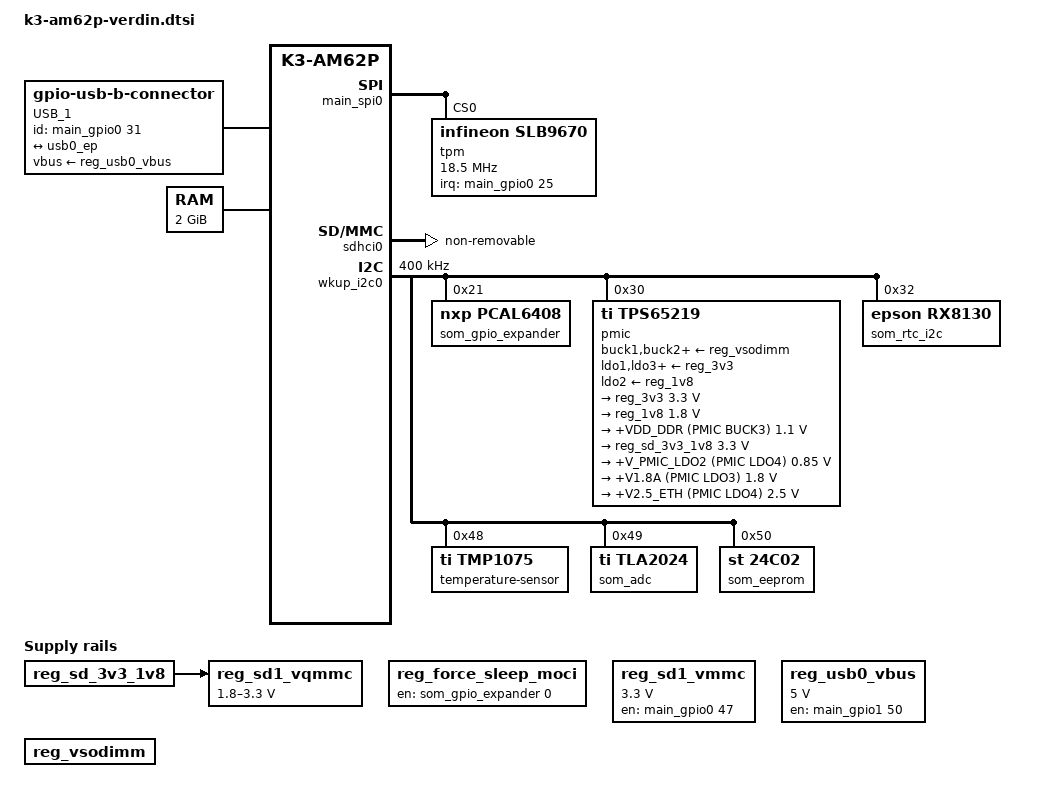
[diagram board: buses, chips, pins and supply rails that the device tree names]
// SPDX-License-Identifier: GPL-2.0-or-later OR MIT
/*
 * Copyright 2025 Toradex
 *
 * Common dtsi for Verdin AM62P SoM
 *
 * https://www.toradex.com/computer-on-modules/verdin-arm-family/ti-am62p
 */

#include <dt-bindings/gpio/gpio.h>
#include <dt-bindings/input/input.h>
#include <dt-bindings/interrupt-controller/arm-gic.h>
#include <dt-bindings/interrupt-controller/irq.h>
#include <dt-bindings/net/ti-dp83867.h>

/ {
	aliases {
		can0 = &main_mcan0;
		can1 = &mcu_mcan0;
		eeprom0 = &som_eeprom;
		ethernet0 = &cpsw_port1;
		ethernet1 = &cpsw_port2;
		i2c0 = &wkup_i2c0;
		i2c1 = &main_i2c0;
		i2c2 = &main_i2c1;
		i2c3 = &mcu_i2c0;
		i2c4 = &main_i2c3;
		mmc0 = &sdhci0;
		mmc1 = &sdhci1;
		mmc2 = &sdhci2;
		rtc0 = &som_rtc_i2c;
		rtc1 = &wkup_rtc0;
		serial0 = &main_uart1;
		serial1 = &wkup_uart0;
		serial2 = &main_uart0;
		serial3 = &mcu_uart0;
		serial4 = &main_uart6;
		usb0 = &usb0;
		usb1 = &usb1;
	};

	chosen {
		stdout-path = "serial2:115200n8";
	};

	connector {
		compatible = "gpio-usb-b-connector", "usb-b-connector";
		pinctrl-names = "default";
		pinctrl-0 = <&pinctrl_usb0_id>;
		id-gpios = <&main_gpio0 31 GPIO_ACTIVE_HIGH>;
		label = "USB_1";
		self-powered;
		vbus-supply = <&reg_usb0_vbus>;

		port {
			usb_dr_connector: endpoint {
				remote-endpoint = <&usb0_ep>;
			};
		};
	};

	verdin_gpio_keys: gpio-keys {
		compatible = "gpio-keys";
		pinctrl-names = "default";
		pinctrl-0 = <&pinctrl_ctrl_wake1_mico>;
		status = "disabled";

		key-wakeup {
			debounce-interval = <10>;
			/* Verdin CTRL_WAKE1_MICO# (SODIMM 252) */
			gpios = <&main_gpio0 1 GPIO_ACTIVE_LOW>;
			label = "Wake-Up";
			linux,code = <KEY_WAKEUP>;
			wakeup-source;
		};
	};

	memory@80000000 {
		/* 2G RAM */
		reg = <0x00000000 0x80000000 0x00000000 0x80000000>;
		device_type = "memory";
	};

	opp-table {
		/* Add 1.4GHz OPP. Requires VDD_CORE to be at 0.85V */
		opp-1400000000 {
			opp-hz = /bits/ 64 <1400000000>;
			opp-supported-hw = <0x01 0x0004>;
			clock-latency-ns = <6000000>;
		};
	};

	reg_force_sleep_moci: regulator-force-sleep-moci {
		compatible = "regulator-fixed";
		/* Verdin CTRL_SLEEP_MOCI# (SODIMM 256) */
		gpios = <&som_gpio_expander 0 GPIO_ACTIVE_HIGH>;
		enable-active-high;
		regulator-always-on;
		regulator-boot-on;
		regulator-name = "CTRL_SLEEP_MOCI#";
	};

	/* Verdin SD_1 Power Supply */
	reg_sd1_vmmc: regulator-sdhci1-vmmc {
		compatible = "regulator-fixed";
		pinctrl-names = "default";
		pinctrl-0 = <&pinctrl_sd1_pwr_en>;
		/* Verdin SD_1_PWR_EN (SODIMM 76) */
		gpios = <&main_gpio0 47 GPIO_ACTIVE_HIGH>;
		enable-active-high;
		off-on-delay-us = <100000>;
		regulator-max-microvolt = <3300000>;
		regulator-min-microvolt = <3300000>;
		regulator-name = "+V3.3_SD";
		startup-delay-us = <2000>;
	};

	reg_sd1_vqmmc: regulator-sdhci1-vqmmc {
		compatible = "regulator-gpio";
		pinctrl-names = "default";
		pinctrl-0 = <&pinctrl_sd_vsel>;
		/* PMIC_VSEL_SD */
		gpios = <&main_gpio0 21 GPIO_ACTIVE_HIGH>;
		regulator-name = "LDO1-VSEL-SD (PMIC)";
		regulator-min-microvolt = <1800000>;
		regulator-max-microvolt = <3300000>;
		states = <1800000 0x0>,
			 <3300000 0x1>;
		vin-supply = <&reg_sd_3v3_1v8>;
	};

	reg_usb0_vbus: regulator-usb0-vbus {
		compatible = "regulator-fixed";
		pinctrl-names = "default";
		pinctrl-0 = <&pinctrl_usb0_en>;
		/* Verdin USB_1_EN (SODIMM 155) */
		gpios = <&main_gpio1 50 GPIO_ACTIVE_HIGH>;
		enable-active-high;
		regulator-max-microvolt = <5000000>;
		regulator-min-microvolt = <5000000>;
		regulator-name = "USB_1_EN";
	};

	/* Module Power Supply */
	reg_vsodimm: regulator-vsodimm {
		compatible = "regulator-fixed";
		regulator-name = "+V_SODIMM";
	};

	reserved_memory: reserved-memory {
		#address-cells = <2>;
		#size-cells = <2>;
		ranges;

		secure_tfa_ddr: tfa@9e780000 {
			reg = <0x00 0x9e780000 0x00 0x80000>;
			no-map;
		};

		secure_ddr: optee@9e800000 {
			reg = <0x00 0x9e800000 0x00 0x01800000>; /* for OP-TEE */
			no-map;
		};

		wkup_r5fss0_core0_dma_memory_region: memory@9c800000 {
			compatible = "shared-dma-pool";
			reg = <0x00 0x9c800000 0x00 0x100000>;
			no-map;
		};

		wkup_r5fss0_core0_memory_region: memory@9c900000 {
			compatible = "shared-dma-pool";
			reg = <0x00 0x9c900000 0x00 0x01e00000>;
			no-map;
		};
	};
};

&main_pmx0 {
	/* Verdin PWM_3_DSI */
	pinctrl_epwm0_b: main-epwm0b-default-pins {
		pinctrl-single,pins = <
			AM62PX_IOPAD(0x01b8, PIN_OUTPUT, 2) /* (E20) SPI0_CS1.EHRPWM0_B */ /* SODIMM 19 */
		>;
	};

	/* Verdin PWM_2 */
	pinctrl_epwm2_a: main-epwm2a-default-pins {
		pinctrl-single,pins = <
			AM62PX_IOPAD(0x0124, PIN_OUTPUT, 4) /* (J25) MMC2_SDCD.EHRPWM2_A */ /* SODIMM 16 */
		>;
	};

	/* Verdin PWM_1 */
	pinctrl_epwm2_b: main-epwm2b-default-pins {
		pinctrl-single,pins = <
			AM62PX_IOPAD(0x0128, PIN_OUTPUT, 4) /* (K25) MMC2_SDWP.EHRPWM2_B */ /* SODIMM 15 */
		>;
	};

	/* Verdin QSPI_1_CLK as GPIO (conflict with Verdin QSPI_1 interface) */
	pinctrl_qspi1_clk_gpio: main-gpio0-0-default-pins {
		pinctrl-single,pins = <
			AM62PX_IOPAD(0x0000, PIN_INPUT, 7) /* (P23) OSPI0_CLK.GPIO0_0 */ /* SODIMM 52 */
		>;
	};

	/* Verdin CTRL_WAKE1_MICO# */
	pinctrl_ctrl_wake1_mico: main-gpio0-1-default-pins {
		pinctrl-single,pins = <
			AM62PX_IOPAD(0x0004, PIN_INPUT, 7) /* (N23) OSPI0_LBCLKO.GPIO0_1 */ /* SODIMM 252 */
		>;
	};

	/* Verdin QSPI_1_DQS as GPIO (conflict with Verdin QSPI_1 interface) */
	pinctrl_qspi1_dqs_gpio: main-gpio0-2-default-pins {
		pinctrl-single,pins = <
			AM62PX_IOPAD(0x0008, PIN_INPUT, 7) /* (P22) OSPI0_DQS.GPIO0_2 */ /* SODIMM 66 */
		>;
	};

	/* Verdin QSPI_1_IO0 as GPIO (conflict with Verdin QSPI_1 interface) */
	pinctrl_qspi1_io0_gpio: main-gpio0-3-default-pins {
		pinctrl-single,pins = <
			AM62PX_IOPAD(0x000c, PIN_INPUT, 7) /* (L25) OSPI0_D0.GPIO0_3 */ /* SODIMM 56 */
		>;
	};

	/* Verdin QSPI_1_IO1 as GPIO (conflict with Verdin QSPI_1 interface) */
	pinctrl_qspi1_io1_gpio: main-gpio0-4-default-pins {
		pinctrl-single,pins = <
			AM62PX_IOPAD(0x0010, PIN_INPUT, 7) /* (N24) OSPI0_D1.GPIO0_4 */ /* SODIMM 58 */
		>;
	};

	/* Verdin QSPI_1_IO2 as GPIO (conflict with Verdin QSPI_1 interface) */
	pinctrl_qspi1_io2_gpio: main-gpio0-5-default-pins {
		pinctrl-single,pins = <
			AM62PX_IOPAD(0x0014, PIN_INPUT, 7) /* (N25) OSPI0_D2.GPIO0_5 */ /* SODIMM 60 */
		>;
	};

	/* Verdin QSPI_1_IO3 as GPIO (conflict with Verdin QSPI_1 interface) */
	pinctrl_qspi1_io3_gpio: main-gpio0-6-default-pins {
		pinctrl-single,pins = <
			AM62PX_IOPAD(0x0018, PIN_INPUT, 7) /* (M24) OSPI0_D3.GPIO0_6 */ /* SODIMM 62 */
		>;
	};

	/* Verdin QSPI_1_CS# as GPIO (conflict with Verdin QSPI_1 interface) */
	pinctrl_qspi1_cs_gpio: main-gpio0-11-default-pins {
		pinctrl-single,pins = <
			AM62PX_IOPAD(0x002c, PIN_INPUT, 7) /* (M25) OSPI0_CSn0.GPIO0_11 */ /* SODIMM 54 */
		>;
	};

	/* Verdin QSPI_1_CS2# as GPIO (conflict with Verdin QSPI_1 interface) */
	pinctrl_qspi1_cs2_gpio: main-gpio0-12-default-pins {
		pinctrl-single,pins = <
			AM62PX_IOPAD(0x0030, PIN_INPUT, 7) /* (L24) OSPI0_CSn1.GPIO0_12 */ /* SODIMM 64 */
		>;
	};

	/* Verdin MSP_37 as GPIO */
	pinctrl_msp37_gpio: main-gpio0-13-default-pins {
		pinctrl-single,pins = <
			AM62PX_IOPAD(0x0034, PIN_INPUT, 7) /* (L22) OSPI0_CSn2.GPIO0_13 */ /* SODIMM 174 - WiFi_W_WKUP_HOST# */
		>;
	};

	/* Verdin PCIE_1_RESET# */
	pinctrl_pcie_1_reset: main-gpio0-14-default-pins {
		pinctrl-single,pins = <
			AM62PX_IOPAD(0x0038, PIN_INPUT, 7) /* (L23) OSPI0_CSn3.GPIO0_14 */ /* SODIMM 244 */
		>;
	};

	pinctrl_sd_vsel: main-gpio0-21-default-pins {
		pinctrl-single,pins = <
			AM62PX_IOPAD(0x0054, PIN_INPUT, 7) /* (V24) GPMC0_AD6.GPIO0_21 */ /* PMIC_SD_VSEL */
		>;
	};

	pinctrl_tpm_extint: main-gpio0-25-default-pins {
		pinctrl-single,pins = <
			AM62PX_IOPAD(0x0064, PIN_INPUT, 7) /* (AA25) GPMC0_AD10.GPIO0_25 */ /* TPM_EXTINT# */
		>;
	};

	pinctrl_wifi_wkup_bt: main-gpio0-29-default-pins {
		pinctrl-single,pins = <
			AM62PX_IOPAD(0x0074, PIN_INPUT, 7) /* (AB24) GPMC0_AD14.GPIO0_29 */ /* WiFi_WKUP_BT# */
		>;
	};

	pinctrl_wifi_wkup_wlan: main-gpio0-30-default-pins {
		pinctrl-single,pins = <
			AM62PX_IOPAD(0x0078, PIN_INPUT, 7) /* (AC24) GPMC0_AD15.GPIO0_30 */ /* WiFi_WKUP_WLAN# */
		>;
	};

	/* Verdin USB_1_ID */
	pinctrl_usb0_id: main-gpio0-31-default-pins {
		pinctrl-single,pins = <
			AM62PX_IOPAD(0x007c, PIN_INPUT, 7) /* (Y25) GPMC0_CLK.GPIO0_31 */ /* SODIMM 161 */
		>;
	};

	/* Verdin USB_1_OC# */
	pinctrl_usb1_oc: main-gpio0-32-default-pins {
		pinctrl-single,pins = <
			AM62PX_IOPAD(0x0084, PIN_INPUT, 7) /* (R25) GPMC0_ADVn_ALE.GPIO0_32 */ /* SODIMM 157 */
		>;
	};

	/* Verdin I2S_2_D_IN as GPIO (conflict with Verdin I2S_2 interface) */
	pinctrl_i2s_2_d_in_gpio: main-gpio0-33-default-pins {
		pinctrl-single,pins = <
			AM62PX_IOPAD(0x0088, PIN_INPUT, 7) /* (R24) GPMC0_OEn_REn.GPIO0_33 */ /* SODIMM 48 */
		>;
	};

	/* Verdin I2S_2_D_OUT as GPIO (conflict with Verdin I2S_2 interface) */
	pinctrl_i2s_2_d_out_gpio: main-gpio0-34-default-pins {
		pinctrl-single,pins = <
			AM62PX_IOPAD(0x008c, PIN_INPUT, 7) /* (T25) GPMC0_WEn.GPIO0_34 */ /* SODIMM 46 */
		>;
	};

	/* Verdin I2S_2_BCLK as GPIO (conflict with Verdin I2S_2 interface) */
	pinctrl_i2s_2_bclk_gpio: main-gpio0-35-default-pins {
		pinctrl-single,pins = <
			AM62PX_IOPAD(0x0090, PIN_INPUT, 7) /* (U24) GPMC0_BE0n_CLE.GPIO0_35 */ /* SODIMM 42 */
		>;
	};

	pinctrl_eth_int: main-gpio0-36-default-pins {
		pinctrl-single,pins = <
			AM62PX_IOPAD(0x0094, PIN_INPUT, 7) /* (T24) GPMC0_BE1n.GPIO0_36 */ /* ETH_INT# */
		>;
	};

	/* Verdin I2S_2_SYNC as GPIO (conflict with Verdin I2S_2 interface) */
	pinctrl_i2s_2_sync_gpio: main-gpio0-37-default-pins {
		pinctrl-single,pins = <
			AM62PX_IOPAD(0x0098, PIN_INPUT, 7) /* (AA24) GPMC0_WAIT0.GPIO0_37 */ /* SODIMM 44 */
		>;
	};

	/* Verdin DSI_1_INT# */
	pinctrl_dsi1_int: main-gpio0-38-default-pins {
		pinctrl-single,pins = <
			AM62PX_IOPAD(0x009c, PIN_INPUT, 7) /* (AD24) GPMC0_WAIT1.GPIO0_38 */ /* SODIMM 17 */
		>;
	};

	/* Verdin DSI_1_BLK_EN# */
	pinctrl_dsi1_bkl_en: main-gpio0-39-default-pins {
		pinctrl-single,pins = <
			AM62PX_IOPAD(0x00a0, PIN_INPUT, 7) /* (P24) GPMC0_WPn.GPIO0_39 */ /* SODIMM 21 */
		>;
	};

	/* Verdin USB_2_OC# */
	pinctrl_usb2_oc: main-gpio0-41-default-pins {
		pinctrl-single,pins = <
			AM62PX_IOPAD(0x00a8, PIN_INPUT, 7) /* (T23) GPMC0_CSn0.GPIO0_41 */ /* SODIMM 187 */
		>;
	};

	/* Verdin ETH_2_RGMII_INT# */
	pinctrl_eth2_rgmii_int: main-gpio0-42-default-pins {
		pinctrl-single,pins = <
			AM62PX_IOPAD(0x00ac, PIN_INPUT, 7) /* (U23) GPMC0_CSn1.GPIO0_42 */ /* SODIMM 189 */
		>;
	};

	/* Verdin SD_1_PWR_EN */
	pinctrl_sd1_pwr_en: main-gpio0-47-default-pins {
		pinctrl-single,pins = <
			AM62PX_IOPAD(0x00c0, PIN_INPUT, 7) /* (AA23) VOUT0_DATA2.GPIO0_47 */ /* SODIMM 76 */
		>;
	};

	/* Verdin GPIO_5 */
	pinctrl_gpio_5: main-gpio0-49-default-pins {
		pinctrl-single,pins = <
			AM62PX_IOPAD(0x00c8, PIN_INPUT, 7) /* (AB23) VOUT0_DATA4.GPIO0_49 */ /* SODIMM 216 */
		>;
	};

	/* Verdin GPIO_6 */
	pinctrl_gpio_6: main-gpio0-50-default-pins {
		pinctrl-single,pins = <
			AM62PX_IOPAD(0x00cc, PIN_INPUT, 7) /* (AD23) VOUT0_DATA5.GPIO0_50 */ /* SODIMM 218 */
		>;
	};

	/* Verdin GPIO_7 */
	pinctrl_gpio_7: main-gpio0-51-default-pins {
		pinctrl-single,pins = <
			AM62PX_IOPAD(0x00d0, PIN_INPUT, 7) /* (AC23) VOUT0_DATA6.GPIO0_51 */ /* SODIMM 220 */
		>;
	};

	/* Verdin GPIO_8 */
	pinctrl_gpio_8: main-gpio0-52-default-pins {
		pinctrl-single,pins = <
			AM62PX_IOPAD(0x00d4, PIN_INPUT, 7) /* (AE23) VOUT0_DATA7.GPIO0_52 */ /* SODIMM 222 */
		>;
	};

	/* Verdin MSP_36 as GPIO */
	pinctrl_msp36_gpio: main-gpio0-57-default-pins {
		pinctrl-single,pins = <
			AM62PX_IOPAD(0x00e8, PIN_INPUT, 7) /* (AD21) VOUT0_DATA12.GPIO0_57 */ /* SODIMM 172 - WiFi_BT_WKUP_HOST#  */
		>;
	};

	pinctrl_wifi_sd_int: main-gpio0-59-default-pins {
		pinctrl-single,pins = <
			AM62PX_IOPAD(0x00f0, PIN_INPUT, 7) /* (AA20) VOUT0_DATA14.GPIO0_59 */ /* WIFI_SD_INT */
		>;
	};

	pinctrl_wifi_spi_cs: main-gpio0-60-default-pins {
		pinctrl-single,pins = <
			AM62PX_IOPAD(0x00f4, PIN_INPUT, 7) /* (Y20) VOUT0_DATA15.GPIO0_60 */ /* WIFI_SPI_CS# */
		>;
	};

	/* Verdin PWM_3_DSI as GPIO */
	pinctrl_pwm3_dsi_gpio: main-gpio1-16-default-pins {
		pinctrl-single,pins = <
			AM62PX_IOPAD(0x01b8, PIN_INPUT, 7) /* (E20) SPI0_CS1.GPIO1_16 */ /* SODIMM 19 */
		>;
	};

	/* Verdin SD_1_CD# */
	pinctrl_sd1_cd: main-gpio1-48-default-pins {
		pinctrl-single,pins = <
			AM62PX_IOPAD(0x0240, PIN_INPUT_PULLUP, 7) /* (D23) MMC1_SDCD.GPIO1_48 */ /* SODIMM 84 */
		>;
	};

	/* Verdin MSP_29 as GPIO */
	pinctl_msp29_gpio: main-gpio1-49-default-pins {
		pinctrl-single,pins = <
			AM62PX_IOPAD(0x0244, PIN_INPUT, 7) /* (D24) MMC1_SDWP.GPIO1_49 */ /* SODIMM 154 */
		>;
	};

	/* Verdin USB_1_EN */
	pinctrl_usb0_en: main-gpio1-50-default-pins {
		pinctrl-single,pins = <
			AM62PX_IOPAD(0x0254, PIN_INPUT, 7) /* (G22) USB0_DRVVBUS.GPIO1_50 */ /* SODIMM 155 */
		>;
	};

	/* Verdin I2C_1 */
	pinctrl_main_i2c0: main-i2c0-default-pins {
		pinctrl-single,pins = <
			AM62PX_IOPAD(0x01e0, PIN_INPUT_PULLUP, 0) /* (B25) I2C0_SCL */ /* SODIMM 14 */
			AM62PX_IOPAD(0x01e4, PIN_INPUT_PULLUP, 0) /* (A24) I2C0_SDA */ /* SODIMM 12 */
		>;
	};

	/* Verdin I2C_2_DSI */
	pinctrl_main_i2c1: main-i2c1-default-pins {
		pinctrl-single,pins = <
			AM62PX_IOPAD(0x01e8, PIN_INPUT_PULLUP, 0) /* (C24) I2C1_SCL */ /* SODIMM 55 */
			AM62PX_IOPAD(0x01ec, PIN_INPUT_PULLUP, 0) /* (B24) I2C1_SDA */ /* SODIMM 53 */
		>;
	};

	/* Verdin I2C_4_CSI */
	pinctrl_main_i2c3: main-i2c3-default-pins {
		pinctrl-single,pins = <
			AM62PX_IOPAD(0x01d0, PIN_INPUT_PULLUP, 2) /* (A23) UART0_CTSn.I2C3_SCL */ /* SODIMM 95 */
			AM62PX_IOPAD(0x01d4, PIN_INPUT_PULLUP, 2) /* (C22) UART0_RTSn.I2C3_SDA */ /* SODIMM 93 */
		>;
	};

	/* Verdin CAN_1 */
	pinctrl_main_mcan0: main-mcan0-default-pins {
		pinctrl-single,pins = <
			AM62PX_IOPAD(0x01dc, PIN_INPUT, 0)  /* (F20) MCAN0_RX */ /* SODIMM 22 */
			AM62PX_IOPAD(0x01d8, PIN_OUTPUT, 0) /* (B23) MCAN0_TX */ /* SODIMM 20 */
		>;
	};

	/* Verdin MSP_3/MSP_8 as CAN */
	pinctrl_main_mcan1: main-mcan1-default-pins {
		pinctrl-single,pins = <
			AM62PX_IOPAD(0x00b4, PIN_INPUT, 5)  /* (U25) GPMC0_CSn3.MCAN1_RX */ /* SODIMM 92  */
			AM62PX_IOPAD(0x00b0, PIN_OUTPUT, 5) /* (T22) GPMC0_CSn2.MCAN1_TX */ /* SODIMM 104 */
		>;
	};

	/* Verdin SD_1 */
	pinctrl_sdhci1: main-mmc1-default-pins {
		pinctrl-single,pins = <
			AM62PX_IOPAD(0x023c, PIN_INPUT,  0) /* (H20) MMC1_CMD  */ /* SODIMM 74 */
			AM62PX_IOPAD(0x0234, PIN_OUTPUT, 0) /* (J24) MMC1_CLK  */ /* SODIMM 78 */
			AM62PX_IOPAD(0x0230, PIN_INPUT,  0) /* (H21) MMC1_DAT0 */ /* SODIMM 80 */
			AM62PX_IOPAD(0x022c, PIN_INPUT,  0) /* (H23) MMC1_DAT1 */ /* SODIMM 82 */
			AM62PX_IOPAD(0x0228, PIN_INPUT,  0) /* (H22) MMC1_DAT2 */ /* SODIMM 70 */
			AM62PX_IOPAD(0x0224, PIN_INPUT,  0) /* (H25) MMC1_DAT3 */ /* SODIMM 72 */
		>;
	};

	/* On-module Wi-Fi on WB SKUs, module-specific SDIO otherwise */
	pinctrl_sdhci2: main-mmc2-default-pins {
		pinctrl-single,pins = <
			AM62PX_IOPAD(0x0120, PIN_INPUT,  0) /* (K24) MMC2_CMD  */ /* SODIMM 160, WiFi_SDIO_CMD   */
			AM62PX_IOPAD(0x0118, PIN_OUTPUT, 0) /* (K21) MMC2_CLK  */ /* SODIMM 156, WiFi_SDIO_CLK   */
			AM62PX_IOPAD(0x011C, PIN_INPUT,  0) /* () MMC2_CLKLB   */
			AM62PX_IOPAD(0x0114, PIN_INPUT,  0) /* (K23) MMC2_DAT0 */ /* SODIMM 162, WiFi_SDIO_DATA0 */
			AM62PX_IOPAD(0x0110, PIN_INPUT,  0) /* (K22) MMC2_DAT1 */ /* SODIMM 164, WiFi_SDIO_DATA1 */
			AM62PX_IOPAD(0x010c, PIN_INPUT,  0) /* (L20) MMC2_DAT2 */ /* SODIMM 166, WiFi_SDIO_DATA2 */
			AM62PX_IOPAD(0x0108, PIN_INPUT,  0) /* (L21) MMC2_DAT3 */ /* SODIMM 168, WiFi_SDIO_DATA3 */
		>;
	};

	/* Verdin QSPI_1 */
	pinctrl_ospi0: main-ospi0-default-pins {
		pinctrl-single,pins = <
			AM62PX_IOPAD(0x0000, PIN_OUTPUT, 0) /* (P23) OSPI0_CLK  */ /* SODIMM 52 */
			AM62PX_IOPAD(0x002c, PIN_OUTPUT, 0) /* (M25) OSPI0_CSn0 */ /* SODIMM 54 */
			AM62PX_IOPAD(0x0030, PIN_OUTPUT, 0) /* (L24) OSPI0_CSn1 */ /* SODIMM 64 */
			AM62PX_IOPAD(0x000c, PIN_INPUT,  0) /* (L25) OSPI0_D0   */ /* SODIMM 56 */
			AM62PX_IOPAD(0x0010, PIN_INPUT,  0) /* (N24) OSPI0_D1   */ /* SODIMM 58 */
			AM62PX_IOPAD(0x0014, PIN_INPUT,  0) /* (N25) OSPI0_D2   */ /* SODIMM 60 */
			AM62PX_IOPAD(0x0018, PIN_INPUT,  0) /* (M24) OSPI0_D3   */ /* SODIMM 62 */
			AM62PX_IOPAD(0x0008, PIN_INPUT,  0) /* (P22) OSPI0_DQS  */ /* SODIMM 66 */
		>;
	};

	/* Verdin ETH_1 RGMII (On-module PHY) */
	pinctrl_rgmii1: main-rgmii1-default-pins {
		pinctrl-single,pins = <
			AM62PX_IOPAD(0x014c, PIN_INPUT, 0) /* (B15) RGMII1_RD0    */ /* RGMII_RXD0   */
			AM62PX_IOPAD(0x0150, PIN_INPUT, 0) /* (B16) RGMII1_RD1    */ /* RGMII_RXD1   */
			AM62PX_IOPAD(0x0154, PIN_INPUT, 0) /* (A14) RGMII1_RD2    */ /* RGMII_RXD2   */
			AM62PX_IOPAD(0x0158, PIN_INPUT, 0) /* (B14) RGMII1_RD3    */ /* RGMII_RXD3   */
			AM62PX_IOPAD(0x0148, PIN_INPUT, 0) /* (A16) RGMII1_RXC    */ /* RGMII_RXC    */
			AM62PX_IOPAD(0x0144, PIN_INPUT, 0) /* (A15) RGMII1_RX_CTL */ /* RGMII_RX_CTL */
			AM62PX_IOPAD(0x0134, PIN_INPUT, 0) /* (A18) RGMII1_TD0    */ /* RGMII_TXD0   */
			AM62PX_IOPAD(0x0138, PIN_INPUT, 0) /* (C17) RGMII1_TD1    */ /* RGMII_TXD1   */
			AM62PX_IOPAD(0x013c, PIN_INPUT, 0) /* (A17) RGMII1_TD2    */ /* RGMII_TXD2   */
			AM62PX_IOPAD(0x0140, PIN_INPUT, 0) /* (C16) RGMII1_TD3    */ /* RGMII_TXD3   */
			AM62PX_IOPAD(0x0130, PIN_INPUT, 0) /* (B17) RGMII1_TXC    */ /* RGMII_TXC    */
			AM62PX_IOPAD(0x012c, PIN_INPUT, 0) /* (B18) RGMII1_TX_CTL */ /* RGMII_TX_CTL */
		>;
	};

	/* Verdin ETH_2 RGMII */
	pinctrl_rgmii2: main-rgmii2-default-pins {
		pinctrl-single,pins = <
			AM62PX_IOPAD(0x0184, PIN_INPUT, 0) /* (E19) RGMII2_RD0    */ /* SODIMM 201 */
			AM62PX_IOPAD(0x0188, PIN_INPUT, 0) /* (E16) RGMII2_RD1    */ /* SODIMM 203 */
			AM62PX_IOPAD(0x018c, PIN_INPUT, 0) /* (E17) RGMII2_RD2    */ /* SODIMM 205 */
			AM62PX_IOPAD(0x0190, PIN_INPUT, 0) /* (C19) RGMII2_RD3    */ /* SODIMM 207 */
			AM62PX_IOPAD(0x0180, PIN_INPUT, 0) /* (D19) RGMII2_RXC    */ /* SODIMM 197 */
			AM62PX_IOPAD(0x017c, PIN_INPUT, 0) /* (F19) RGMII2_RX_CTL */ /* SODIMM 199 */
			AM62PX_IOPAD(0x016c, PIN_INPUT, 0) /* (B19) RGMII2_TD0    */ /* SODIMM 221 */
			AM62PX_IOPAD(0x0170, PIN_INPUT, 0) /* (A21) RGMII2_TD1    */ /* SODIMM 219 */
			AM62PX_IOPAD(0x0174, PIN_INPUT, 0) /* (D17) RGMII2_TD2    */ /* SODIMM 217 */
			AM62PX_IOPAD(0x0178, PIN_INPUT, 0) /* (A19) RGMII2_TD3    */ /* SODIMM 215 */
			AM62PX_IOPAD(0x0168, PIN_INPUT, 0) /* (D16) RGMII2_TXC    */ /* SODIMM 213 */
			AM62PX_IOPAD(0x0164, PIN_INPUT, 0) /* (A20) RGMII2_TX_CTL */ /* SODIMM 211 */
		>;
	};

	/* TPM SPI, Optional Module Specific SPI */
	pinctrl_main_spi0: main-spi0-default-pins {
		pinctrl-single,pins = <
			AM62PX_IOPAD(0x01bc, PIN_INPUT,  0) /* (B21) SPI0_CLK */ /* TPM_SPI_CLK  - SODIMM 148 */
			AM62PX_IOPAD(0x01c0, PIN_OUTPUT, 0) /* (B20) SPI0_D0  */ /* TPM_SPI_MOSI - SODIMM 150 */
			AM62PX_IOPAD(0x01c4, PIN_INPUT,  0) /* (C21) SPI0_D1  */ /* TPM_SPI_MISO - SODIMM 152 */
			AM62PX_IOPAD(0x01b4, PIN_INPUT,  0) /* (D20) SPI0_CS0 */ /* TPM_SPI_CS */
		>;
	};

	/* Verdin SPI_1 */
	pinctrl_main_spi1: main-spi1-default-pins {
		pinctrl-single,pins = <
			AM62PX_IOPAD(0x0020, PIN_INPUT,  1) /* (N22) OSPI0_D5.SPI1_CLK */ /* SODIMM 196 */
			AM62PX_IOPAD(0x0024, PIN_OUTPUT, 1) /* (P21) OSPI0_D6.SPI1_D0  */ /* SODIMM 200 */
			AM62PX_IOPAD(0x0028, PIN_INPUT,  1) /* (N20) OSPI0_D7.SPI1_D1  */ /* SODIMM 198 */
		>;
	};

	/* Verdin SPI_1_CS */
	pinctrl_main_spi1_cs0: main-spi1-cs0-default-pins {
		pinctrl-single,pins = <
			AM62PX_IOPAD(0x001c, PIN_OUTPUT, 1) /* (N21) OSPI0_D4.SPI1_CS0 */ /* SODIMM 202 */
		>;
	};

	/* Verdin I2S_1 MCLK */
	pinctrl_i2s1_mclk: main-system-audio-ext-reflock0-default-pins {
		pinctrl-single,pins = <
			AM62PX_IOPAD(0x00c4, PIN_OUTPUT, 5) /* (Y23) VOUT0_DATA3.AUDIO_EXT_REFCLK0 */ /* SODIMM 38 */
		>;
	};

	pinctrl_eth_clock: main-system-clkout0-default-pins {
		pinctrl-single,pins = <
			AM62PX_IOPAD(0x01f0, PIN_OUTPUT_PULLUP, 5) /* (C25) EXT_REFCLK1.CLKOUT0 */ /* ETH_25MHz_CLK */
		>;
	};

	pinctrl_pmic_extint: main-system-extint-default-pins {
		pinctrl-single,pins = <
			AM62PX_IOPAD(0x01f4, PIN_INPUT, 0) /* (C23) EXTINTn */ /* PMIC_EXTINT# */
		>;
	};

	/* Verdin UART_3, used as the Linux console */
	pinctrl_uart0: main-uart0-default-pins {
		pinctrl-single,pins = <
			AM62PX_IOPAD(0x1c8, PIN_INPUT,  0) /* (A22) UART0_RXD */ /* SODIMM 147 */
			AM62PX_IOPAD(0x1cc, PIN_OUTPUT, 0) /* (B22) UART0_TXD */ /* SODIMM 149 */
		>;
	};

	/* Verdin UART_1 */
	pinctrl_uart1: main-uart1-default-pins {
		pinctrl-single,pins = <
			AM62PX_IOPAD(0x01ac, PIN_INPUT,  2) /* (G23) MCASP0_AFSR.UART1_RXD  */ /* SODIMM 129 */
			AM62PX_IOPAD(0x01b0, PIN_OUTPUT, 2) /* (G20) MCASP0_ACLKR.UART1_TXD */ /* SODIMM 131 */
			AM62PX_IOPAD(0x0194, PIN_INPUT,  2) /* (D25) MCASP0_AXR3.UART1_CTSn */ /* SODIMM 135 */
			AM62PX_IOPAD(0x0198, PIN_OUTPUT, 2) /* (E25) MCASP0_AXR2.UART1_RTSn */ /* SODIMM 133 */
		>;
	};

	/* Verdin MSP 41, 42, 44 and 45 as UART */
	pinctrl_uart2: main-uart2-default-pins {
		pinctrl-single,pins = <
			AM62PX_IOPAD(0x00b8, PIN_INPUT,  4) /* (AE24) VOUT0_DATA0.UART2_RXD */ /* SODIMM 192 */
			AM62PX_IOPAD(0x00bc, PIN_OUTPUT, 4) /* (W23) VOUT0_DATA1.UART2_TXD  */ /* SODIMM 190 */
			AM62PX_IOPAD(0x0104, PIN_INPUT,  4) /* (Y21) VOUT0_PCLK.UART2_CTSn  */ /* SODIMM 184 */
			AM62PX_IOPAD(0x0100, PIN_OUTPUT, 4) /* (W20) VOUT0_VSYNC.UART2_RTSn */ /* SODIMM 186 */
		>;
	};

	/* Bluetooth on WB SKUs */
	pinctrl_uart6: main-uart6-default-pins {
		pinctrl-single,pins = <
			AM62PX_IOPAD(0x00d8, PIN_INPUT,  4) /* (AE22) VOUT0_DATA8.UART6_RXD   */ /* WiFi_UART_RXD */
			AM62PX_IOPAD(0x00dc, PIN_OUTPUT, 4) /* (AC22) VOUT0_DATA9.UART6_TXD   */ /* WiFi_UART_TXD */
			AM62PX_IOPAD(0x00e4, PIN_INPUT,  4) /* (AE21) VOUT0_DATA11.UART6_CTSn */ /* WiFi_UART_CTS */
			AM62PX_IOPAD(0x00e0, PIN_OUTPUT, 4) /* (W22)  VOUT0_DATA10.UART6_RTSn */ /* WiFi_UART_RTS */
		>;
	};

	/* Verdin USB_2_EN */
	pinctrl_usb1: main-usb1-default-pins {
		pinctrl-single,pins = <
			AM62PX_IOPAD(0x0258, PIN_OUTPUT, 0) /* (G21) USB1_DRVVBUS */ /* SODIMM 185 */
		>;
	};

	/* Verdin I2S_1 */
	pinctrl_mcasp0: mcasp0-default-pins {
		pinctrl-single,pins = <
			AM62PX_IOPAD(0x01a4, PIN_INPUT, 0) /* (F24) MCASP0_ACLKX */ /* SODIMM 30 */
			AM62PX_IOPAD(0x01a8, PIN_INPUT, 0) /* (F25) MCASP0_AFSX  */ /* SODIMM 32 */
			AM62PX_IOPAD(0x01a0, PIN_INPUT, 0) /* (F23) MCASP0_AXR0  */ /* SODIMM 34 */
			AM62PX_IOPAD(0x019c, PIN_INPUT, 0) /* (E24) MCASP0_AXR1  */ /* SODIMM 36 */
		>;
	};

	/* Verdin I2S_2 */
	pinctrl_mcasp1: mcasp1-default-pins {
		pinctrl-single,pins = <
			AM62PX_IOPAD(0x0090, PIN_INPUT, 2) /* (U24)  GPMC0_BE0n_CLE.MCASP1_ACLKX */ /* SODIMM 42 */
			AM62PX_IOPAD(0x0098, PIN_INPUT, 2) /* (AA24) GPMC0_WAIT0.MCASP1_AFSX     */ /* SODIMM 44 */
			AM62PX_IOPAD(0x008c, PIN_INPUT, 2) /* (T25)  GPMC0_WEn.MCASP1_AXR0       */ /* SODIMM 46 */
			AM62PX_IOPAD(0x0088, PIN_INPUT, 2) /* (R24)  GPMC0_OEn_REn.MCASP1_AXR1   */ /* SODIMM 48 */
		>;
	};

	/* MDIO, shared by Verdin ETH_1 (On-module PHY) and Verdin ETH_2_RGMII */
	pinctrl_mdio: mdio0-default-pins {
		pinctrl-single,pins = <
			AM62PX_IOPAD(0x0160, PIN_OUTPUT, 0) /* (F17) MDIO0_MDC  */ /* SODIMM 193 */
			AM62PX_IOPAD(0x015c, PIN_INPUT,  0) /* (F16) MDIO0_MDIO */ /* SODIMM 191 */
		>;
	};
};

&mcu_pmx0 {
	/* Verdin GPIO_1 */
	pinctrl_gpio_1: mcu-gpio0-1-default-pins {
		pinctrl-single,pins = <
			AM62PX_MCU_IOPAD(0x0004, PIN_INPUT, 7) /* (E10) MCU_SPI0_CS1.MCU_GPIO0_1 */ /* SODIMM 206 */
		>;
	};

	/* Verdin GPIO_2 */
	pinctrl_gpio_2: mcu-gpio0-2-default-pins {
		pinctrl-single,pins = <
			AM62PX_MCU_IOPAD(0x0008, PIN_INPUT, 7) /* (C10) MCU_SPI0_CLK.MCU_GPIO0_2 */ /* SODIMM 208 */
		>;
	};

	/* Verdin GPIO_3 */
	pinctrl_gpio_3: mcu-gpio0-3-default-pins {
		pinctrl-single,pins = <
			AM62PX_MCU_IOPAD(0x000c, PIN_INPUT, 7) /* (B11) MCU_SPI0_D0.MCU_GPIO0_3 */ /* SODIMM 210 */
		>;
	};

	/* Verdin GPIO_4 */
	pinctrl_gpio_4: mcu-gpio0-4-default-pins {
		pinctrl-single,pins = <
			AM62PX_MCU_IOPAD(0x0010, PIN_INPUT, 7) /* (D10) MCU_SPI0_D1.MCU_GPIO0_4 */ /* SODIMM 212 */
		>;
	};

	/* Verdin I2C_3_HDMI */
	pinctrl_mcu_i2c0: mcu-i2c0-default-pins {
		pinctrl-single,pins = <
			AM62PX_MCU_IOPAD(0x0044, PIN_INPUT_PULLUP, 0) /* (E11) MCU_I2C0_SCL */ /* SODIMM 59 */
			AM62PX_MCU_IOPAD(0x0048, PIN_INPUT_PULLUP, 0) /* (D11) MCU_I2C0_SDA */ /* SODIMM 57 */
		>;
	};

	/* Verdin CAN_2 */
	pinctrl_mcu_mcan0: mcu-mcan0-default-pins {
		pinctrl-single,pins = <
			AM62PX_MCU_IOPAD(0x0038, PIN_INPUT,  0) /* (D6) MCU_MCAN0_RX */ /* SODIMM 22 */
			AM62PX_MCU_IOPAD(0x0034, PIN_OUTPUT, 0) /* (E8) MCU_MCAN0_TX */ /* SODIMM 20 */
		>;
	};

	/* Verdin MSP_13/MSP_18 as CAN */
	pinctrl_mcu_mcan1: mcu-mcan1-default-pins {
		pinctrl-single,pins = <
			AM62PX_MCU_IOPAD(0x0040, PIN_INPUT,  0) /* (E7) MCU_MCAN1_RX */ /* SODIMM 116 */
			AM62PX_MCU_IOPAD(0x003c, PIN_OUTPUT, 0) /* (F8) MCU_MCAN1_TX */ /* SODIMM 128 */
		>;
	};

	/* Verdin UART_4 */
	pinctrl_mcu_uart0: mcu-uart0-default-pins {
		pinctrl-single,pins = <
			AM62PX_MCU_IOPAD(0x0014, PIN_INPUT,  0) /* (B6) MCU_UART0_RXD */ /* SODIMM 151 */
			AM62PX_MCU_IOPAD(0x0018, PIN_OUTPUT, 0) /* (C8) MCU_UART0_TXD */ /* SODIMM 153 */
		>;
	};

	/* On-module I2C - PMIC_I2C */
	pinctrl_wkup_i2c0: wkup-i2c0-default-pins {
		pinctrl-single,pins = <
			AM62PX_MCU_IOPAD(0x004c, PIN_INPUT, 0) /* (A13) WKUP_I2C0_SCL */ /* PMIC_I2C_SCL */
			AM62PX_MCU_IOPAD(0x0050, PIN_INPUT, 0) /* (C11) WKUP_I2C0_SDA */ /* PMIC_I2C_SDA */
		>;
	};

	/* Verdin CSI_1_MCLK */
	pinctrl_wkup_clkout0: wkup-system-clkout0-default-pins {
		pinctrl-single,pins = <
			AM62PX_MCU_IOPAD(0x0084, PIN_OUTPUT, 0) /* (F13) WKUP_CLKOUT0 */ /* SODIMM 91 */
		>;
	};

	/* Verdin UART_2 */
	pinctrl_wkup_uart0: wkup-uart0-default-pins {
		pinctrl-single,pins = <
			AM62PX_MCU_IOPAD(0x002c, PIN_INPUT,  0) /* (C7) WKUP_UART0_CTSn */ /* SODIMM 143 */
			AM62PX_MCU_IOPAD(0x0030, PIN_OUTPUT, 0) /* (C6) WKUP_UART0_RTSn */ /* SODIMM 141 */
			AM62PX_MCU_IOPAD(0x0024, PIN_INPUT,  0) /* (D8) WKUP_UART0_RXD  */ /* SODIMM 137 */
			AM62PX_MCU_IOPAD(0x0028, PIN_OUTPUT, 0) /* (D7) WKUP_UART0_TXD  */ /* SODIMM 139 */
		>;
	};
};

/* Verdin I2S_1_MCLK */
&audio_refclk0 {
	assigned-clock-rates = <25000000>;
};

&cpsw3g {
	pinctrl-names = "default";
	pinctrl-0 = <&pinctrl_rgmii1>;
	status = "disabled";
};

/* MDIO, shared by Verdin ETH_1 (On-module PHY) and Verdin ETH_2_RGMII */
&cpsw3g_mdio {
	pinctrl-names = "default";
	pinctrl-0 = <&pinctrl_mdio>, <&pinctrl_eth_clock>;
	assigned-clocks = <&k3_clks 157 36>;
	assigned-clock-parents = <&k3_clks 157 38>;
	assigned-clock-rates = <25000000>;
	status = "disabled";

	som_eth_phy: ethernet-phy@0 {
		reg = <0>;
		pinctrl-names = "default";
		pinctrl-0 = <&pinctrl_eth_int>;
		interrupt-parent = <&main_gpio0>;
		interrupts = <36 IRQ_TYPE_EDGE_FALLING>;
		ti,clk-output-sel = <DP83867_CLK_O_SEL_OFF>;
		ti,rx-internal-delay = <DP83867_RGMIIDCTL_2_00_NS>;
		ti,fifo-depth = <DP83867_PHYCR_FIFO_DEPTH_4_B_NIB>;
	};
};

/* Verdin ETH_1 (On-module PHY) */
&cpsw_port1 {
	phy-handle = <&som_eth_phy>;
	phy-mode = "rgmii-rxid";
	status = "disabled";
};

/* Verdin ETH_2_RGMII */
&cpsw_port2 {
	status = "disabled";
};

/* Verdin PWM_3_DSI */
&epwm0 {
	pinctrl-names = "default";
	pinctrl-0 = <&pinctrl_epwm0_b>;
	status = "disabled";
};

/* Verdin PWM_1, PWM_2 */
&epwm2 {
	pinctrl-names = "default";
	pinctrl-0 = <&pinctrl_epwm2_a>, <&pinctrl_epwm2_b>;
	status = "disabled";
};

&main0_alert {
	temperature = <95000>;
};

&main0_crit {
	temperature = <105000>;
};

&main1_alert {
	temperature = <95000>;
};

&main1_crit {
	temperature = <105000>;
};

&main2_alert {
	temperature = <95000>;
};

&main2_crit {
	temperature = <105000>;
};

&main_gpio0 {
	gpio-line-names =
		"SODIMM_52",
		"SODIMM_252",
		"SODIMM_66",
		"SODIMM_56",
		"SODIMM_58",
		"SODIMM_60",
		"SODIMM_62",
		"",
		"",
		"",
		"", /* 10 */
		"SODIMM_54",
		"SODIMM_64",
		"SODIMM_174",
		"SODIMM_244",
		"",
		"",
		"",
		"",
		"",
		"", /* 20 */
		"PMIC_SD_VSEL",
		"",
		"",
		"",
		"TPM_EXTINT#",
		"",
		"",
		"",
		"WiFi_WKUP_BT#",
		"WiFi_WKUP_WLAN#", /* 30 */
		"SODIMM_161",
		"SODIMM_157",
		"",
		"",
		"",
		"ETH_INT#",
		"",
		"SODIMM_17",
		"SODIMM_21",
		"", /* 40 */
		"SODIMM_187",
		"SODIMM_189",
		"",
		"",
		"",
		"",
		"SODIMM_76",
		"",
		"SODIMM_216",
		"SODIMM_218", /* 50 */
		"SODIMM_220",
		"SODIMM_222",
		"",
		"",
		"",
		"",
		"SODIMM_172",
		"",
		"WIFI_SD_INT",
		"WIFI_SPI_CS#", /* 60 */
		"",
		"",
		"",
		"",
		"",
		"",
		"",
		"",
		"",
		"", /* 70 */
		"",
		"",
		"",
		"",
		"",
		"",
		"",
		"",
		"",
		"", /* 80 */
		"",
		"",
		"",
		"",
		"",
		"",
		"",
		"",
		"",
		"", /* 90 */
		"";

	verdin_pcie_1_reset_hog: pcie-1-reset-hog {
		gpio-hog;
		/* Verdin PCIE_1_RESET# (SODIMM 244) */
		gpios = <14 GPIO_ACTIVE_LOW>;
		line-name = "PCIE_1_RESET#";
		output-low;
		status = "disabled";
	};
};

&main_gpio1 {
	gpio-line-names =
		"",
		"",
		"",
		"",
		"",
		"",
		"",
		"",
		"",
		"",
		"", /* 10 */
		"",
		"",
		"",
		"",
		"",
		"",
		"",
		"",
		"",
		"", /* 20 */
		"",
		"",
		"",
		"",
		"",
		"",
		"",
		"",
		"",
		"", /* 30 */
		"",
		"",
		"",
		"",
		"",
		"",
		"",
		"",
		"",
		"", /* 40 */
		"",
		"",
		"",
		"",
		"",
		"",
		"",
		"SODIMM_84",
		"SODIMM_154",
		"SODIMM_155", /* 50 */
		"";
};

/* Verdin I2C_1 */
&main_i2c0 {
	pinctrl-names = "default";
	pinctrl-0 = <&pinctrl_main_i2c0>;
	status = "disabled";
};

/* Verdin I2C_2_DSI */
&main_i2c1 {
	pinctrl-names = "default";
	pinctrl-0 = <&pinctrl_main_i2c1>;
	status = "disabled";
};

/* Verdin I2C_4_CSI */
&main_i2c3 {
	pinctrl-names = "default";
	pinctrl-0 = <&pinctrl_main_i2c3>;
	status = "disabled";
};

/* Verdin CAN_1 */
&main_mcan0 {
	pinctrl-names = "default";
	pinctrl-0 = <&pinctrl_main_mcan0>;
	status = "disabled";
};

/* TPM SPI, optional SPI on module specific pins */
&main_spi0 {
	pinctrl-names = "default";
	pinctrl-0 = <&pinctrl_main_spi0>;
	ti,pindir-d0-out-d1-in;
	status = "okay";

	tpm@0 {
		compatible = "infineon,slb9670", "tcg,tpm_tis-spi";
		reg = <0>;
		pinctrl-names = "default";
		pinctrl-0 = <&pinctrl_tpm_extint>;
		interrupt-parent = <&main_gpio0>;
		interrupts = <25 IRQ_TYPE_EDGE_FALLING>;
		spi-max-frequency = <18500000>;
	};
};

/* Verdin SPI_1 */
&main_spi1 {
	pinctrl-names = "default";
	pinctrl-0 = <&pinctrl_main_spi1>, <&pinctrl_main_spi1_cs0>;
	ti,pindir-d0-out-d1-in;
	status = "disabled";
};

/* Verdin UART_3, used as the Linux console */
&main_uart0 {
	pinctrl-names = "default";
	pinctrl-0 = <&pinctrl_uart0>;
	status = "disabled";
};

/* Verdin UART_1 */
&main_uart1 {
	pinctrl-names = "default";
	pinctrl-0 = <&pinctrl_uart1>;
	uart-has-rtscts;
	status = "disabled";
};

/* Verdin I2S_1 */
&mcasp0 {
	pinctrl-names = "default";
	pinctrl-0 = <&pinctrl_mcasp0>;
	op-mode = <0>; /* I2S mode */
	serial-dir = <  /* 0: INACTIVE, 1: TX, 2: RX */
	       1 2 0 0
	       0 0 0 0
	       0 0 0 0
	       0 0 0 0
	>;
	tdm-slots = <2>;
	rx-num-evt = <0>;
	tx-num-evt = <0>;
	#sound-dai-cells = <0>;
	status = "disabled";
};

/* Verdin I2S_2 */
&mcasp1 {
	pinctrl-names = "default";
	pinctrl-0 = <&pinctrl_mcasp1>;
	op-mode = <0>; /* I2S mode */
	serial-dir = <  /* 0: INACTIVE, 1: TX, 2: RX */
	       1 2 0 0
	       0 0 0 0
	       0 0 0 0
	       0 0 0 0
	>;
	tdm-slots = <2>;
	rx-num-evt = <0>;
	tx-num-evt = <0>;
	#sound-dai-cells = <0>;
	status = "disabled";
};

&mcu_gpio0 {
	gpio-line-names =
		"",
		"SODIMM_206",
		"SODIMM_208",
		"SODIMM_210",
		"SODIMM_212",
		"",
		"",
		"",
		"",
		"",
		"", /* 10 */
		"",
		"",
		"",
		"",
		"",
		"",
		"",
		"",
		"",
		"", /* 20 */
		"",
		"",
		"";
};

/* Verdin I2C_3_HDMI */
&mcu_i2c0 {
	pinctrl-names = "default";
	pinctrl-0 = <&pinctrl_mcu_i2c0>;
	status = "disabled";
};

/* Verdin CAN_2 */
&mcu_mcan0 {
	pinctrl-names = "default";
	pinctrl-0 = <&pinctrl_mcu_mcan0>;
	status = "disabled";
};

/* Verdin UART_4 */
&mcu_uart0 {
	pinctrl-names = "default";
	pinctrl-0 = <&pinctrl_mcu_uart0>;
	status = "disabled";
};

/* Verdin QSPI_1 */
&ospi0 {
	pinctrl-names = "default";
	pinctrl-0 = <&pinctrl_ospi0>;
	status = "disabled";
};

/* On-module eMMC */
&sdhci0 {
	no-mmc-hs400;
	non-removable;
	ti,driver-strength-ohm = <50>;
	status = "okay";
};

/* Verdin SD_1 */
&sdhci1 {
	pinctrl-names = "default";
	pinctrl-0 = <&pinctrl_sdhci1>, <&pinctrl_sd1_cd>;
	cd-gpios = <&main_gpio1 48 GPIO_ACTIVE_LOW>;
	disable-wp;
	vmmc-supply = <&reg_sd1_vmmc>;
	vqmmc-supply = <&reg_sd1_vqmmc>;
	ti,fails-without-test-cd;
	status = "disabled";
};

/* Verdin USB_1 */
&usbss0 {
	ti,vbus-divider;
	status = "disabled";
};

&usb0 {
	adp-disable;
	usb-role-switch;
	status = "disabled";

	port {
		usb0_ep: endpoint {
			remote-endpoint = <&usb_dr_connector>;
		};
	};
};

/* Verdin USB_2 */
&usbss1 {
	ti,vbus-divider;
	status = "disabled";
};

&usb1 {
	pinctrl-names = "default";
	pinctrl-0 = <&pinctrl_usb1>;
	dr_mode = "host";
	status = "disabled";
};

/* On-module I2C - PMIC_I2C */
&wkup_i2c0 {
	pinctrl-names = "default";
	pinctrl-0 = <&pinctrl_wkup_i2c0>;
	clock-frequency = <400000>;
	status = "okay";

	som_gpio_expander: gpio@21 {
		compatible = "nxp,pcal6408";
		reg = <0x21>;
		#gpio-cells = <2>;
		gpio-controller;
		gpio-line-names = "SODIMM_256";
	};

	pmic@30 {
		compatible = "ti,tps65219";
		reg = <0x30>;
		pinctrl-names = "default";
		pinctrl-0 = <&pinctrl_pmic_extint>;
		interrupt-parent = <&gic500>;
		interrupts = <GIC_SPI 224 IRQ_TYPE_LEVEL_HIGH>;

		buck1-supply = <&reg_vsodimm>;
		buck2-supply = <&reg_vsodimm>;
		buck3-supply = <&reg_vsodimm>;
		ldo1-supply = <&reg_3v3>;
		ldo2-supply = <&reg_1v8>;
		ldo3-supply = <&reg_3v3>;
		ldo4-supply = <&reg_3v3>;
		system-power-controller;
		ti,power-button;

		regulators {
			reg_3v3: buck1 {
				regulator-always-on;
				regulator-boot-on;
				regulator-max-microvolt = <3300000>;
				regulator-min-microvolt = <3300000>;
				regulator-name = "+V3.3 (PMIC BUCK1)";
			};

			reg_1v8: buck2 {
				regulator-always-on;
				regulator-boot-on;
				regulator-max-microvolt = <1800000>;
				regulator-min-microvolt = <1800000>;
				regulator-name = "+V1.8 (PMIC BUCK2)"; /* On-module and SODIMM 214 */
			};

			buck3 {
				regulator-always-on;
				regulator-boot-on;
				regulator-max-microvolt = <1100000>;
				regulator-min-microvolt = <1100000>;
				regulator-name = "+VDD_DDR (PMIC BUCK3)";
			};

			reg_sd_3v3_1v8: ldo1 {
				regulator-allow-bypass;
				regulator-always-on;
				regulator-boot-on;
				regulator-max-microvolt = <3300000>;
				regulator-min-microvolt = <3300000>;
				regulator-name = "+V3.3_1.8_SD (PMIC LDO1)";
			};

			ldo2 {
				regulator-always-on;
				regulator-boot-on;
				regulator-max-microvolt = <850000>;
				regulator-min-microvolt = <850000>;
				regulator-name = "+V_PMIC_LDO2 (PMIC LDO4)"; // +VDDR_CORE
			};

			ldo3 {
				regulator-always-on;
				regulator-boot-on;
				regulator-max-microvolt = <1800000>;
				regulator-min-microvolt = <1800000>;
				regulator-name = "+V1.8A (PMIC LDO3)";
			};

			ldo4 {
				regulator-always-on;
				regulator-boot-on;
				regulator-max-microvolt = <2500000>;
				regulator-min-microvolt = <2500000>;
				regulator-name = "+V2.5_ETH (PMIC LDO4)";
			};
		};
	};

	som_rtc_i2c: rtc@32 {
		compatible = "epson,rx8130";
		reg = <0x32>;
	};

	temperature-sensor@48 {
		compatible = "ti,tmp1075";
		reg = <0x48>;
	};

	som_adc: adc@49 {
		compatible = "ti,tla2024";
		reg = <0x49>;
		#address-cells = <1>;
		#size-cells = <0>;
		#io-channel-cells = <1>;

		/* Verdin (ADC_4 - ADC_3) */
		channel@0 {
			reg = <0>;
			ti,datarate = <4>;
			ti,gain = <2>;
		};

		/* Verdin (ADC_4 - ADC_1) */
		channel@1 {
			reg = <1>;
			ti,datarate = <4>;
			ti,gain = <2>;
		};

		/* Verdin (ADC_3 - ADC_1) */
		channel@2 {
			reg = <2>;
			ti,datarate = <4>;
			ti,gain = <2>;
		};

		/* Verdin (ADC_2 - ADC_1) */
		channel@3 {
			reg = <3>;
			ti,datarate = <4>;
			ti,gain = <2>;
		};

		/* Verdin ADC_4 */
		channel@4 {
			reg = <4>;
			ti,datarate = <4>;
			ti,gain = <2>;
		};

		/* Verdin ADC_3 */
		channel@5 {
			reg = <5>;
			ti,datarate = <4>;
			ti,gain = <2>;
		};

		/* Verdin ADC_2 */
		channel@6 {
			reg = <6>;
			ti,datarate = <4>;
			ti,gain = <2>;
		};

		/* Verdin ADC_1 */
		channel@7 {
			reg = <7>;
			ti,datarate = <4>;
			ti,gain = <2>;
		};
	};

	som_eeprom: eeprom@50 {
		compatible = "st,24c02", "atmel,24c02";
		reg = <0x50>;
		pagesize = <16>;
	};
};

/* Verdin UART_2 */
&wkup_uart0 {
	pinctrl-names = "default";
	pinctrl-0 = <&pinctrl_wkup_uart0>;
	uart-has-rtscts;
	status = "disabled";
};

#include "k3-am62p-ti-ipc-firmware.dtsi"
